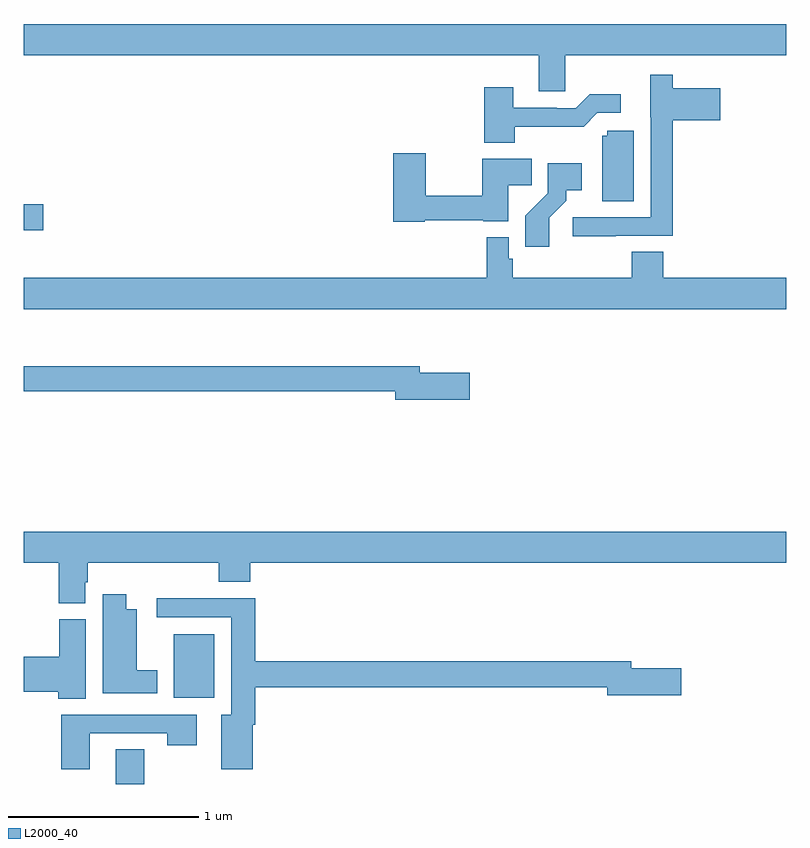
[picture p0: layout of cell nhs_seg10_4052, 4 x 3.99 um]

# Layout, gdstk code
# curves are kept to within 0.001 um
import gdstk
lib = gdstk.Library(unit=1e-6, precision=1e-09)
def R(c, l, rs):  # rectangles x0, y0, x1, y1
    for r in rs: c.add(gdstk.rectangle(r[:2], r[2:], *l))
def P(c, l, *ps):  # polygons
    for p in ps: c.add(gdstk.Polygon(p, *l))
L2000_40 = (2000, 40)

nhs_seg10_4052 = lib.new_cell('nhs_seg10_4052')
R(nhs_seg10_4052, L2000_40, [(335.483,1288.5,335.631,1288.682), (335.786,1288.952,335.998,1289.287), (335,1291.406,335.101,1291.541)])
P(nhs_seg10_4052, L2000_40, [(337.842,1292.324),(339,1292.324),(339,1292.488),(335,1292.488),(335,1292.324),(337.703,1292.324),(337.703,1292.134),(337.842,1292.134)],
  [(338.105,1291.377),(338.405,1291.377),(338.405,1291.982),(338.653,1291.982),(338.653,1292.152),(338.405,1292.152),(338.405,1292.221),(338.288,1292.221),(338.288,1291.998),(338.289,1291.998),(338.289,1291.473),(337.881,1291.473),(337.881,1291.375),(338.105,1291.375)],
  [(337.575,1291.95),(337.937,1291.949),(338.01,1292.022),(338.131,1292.022),(338.131,1292.119),(337.969,1292.119),(337.896,1292.046),(337.796,1292.046),(337.796,1292.049),(337.567,1292.049),(337.567,1292.155),(337.415,1292.155),(337.415,1291.865),(337.575,1291.865)],
  [(338.2,1291.929),(338.061,1291.929),(338.061,1291.902),(338.036,1291.902),(338.036,1291.558),(338.2,1291.558)],
  [(337.104,1291.458),(337.41,1291.458),(337.41,1291.454),(337.543,1291.454),(337.543,1291.642),(337.664,1291.642),(337.664,1291.78),(337.406,1291.78),(337.406,1291.586),(337.108,1291.586),(337.108,1291.81),(336.938,1291.81),(336.938,1291.45),(337.104,1291.45)],
  [(337.756,1291.471),(337.846,1291.561),(337.846,1291.616),(337.927,1291.616),(337.927,1291.756),(337.749,1291.756),(337.749,1291.601),(337.63,1291.482),(337.63,1291.32),(337.756,1291.32)],
  [(339,1291.156),(338.354,1291.156),(338.354,1291.292),(338.189,1291.292),(338.189,1291.156),(337.565,1291.156),(337.565,1291.257),(337.545,1291.257),(337.545,1291.369),(337.429,1291.369),(337.429,1291.156),(335,1291.156),(335,1290.992),(339,1290.992)],
  [(337.339,1290.657),(337.078,1290.657),(337.078,1290.691),(335,1290.691),(335,1290.562),(336.95,1290.562),(336.95,1290.515),(337.339,1290.515)],
  [(335.323,1289.559),(335.336,1289.559),(335.336,1289.66),(336.023,1289.66),(336.023,1289.561),(336.188,1289.561),(336.188,1289.66),(339,1289.66),(339,1289.824),(335,1289.824),(335,1289.66),(335.183,1289.66),(335.183,1289.449),(335.323,1289.449)],
  [(335.701,1289.098),(335.593,1289.098),(335.593,1289.416),(335.536,1289.416),(335.536,1289.497),(335.414,1289.497),(335.414,1288.976),(335.701,1288.976)],
  [(336.202,1288.811),(336.215,1288.811),(336.215,1289.008),(338.06,1289.008),(338.06,1288.966),(338.449,1288.966),(338.449,1289.108),(338.188,1289.108),(338.188,1289.144),(336.215,1289.144),(336.215,1289.474),(335.697,1289.474),(335.697,1289.376),(336.089,1289.376),(336.089,1288.864),(336.035,1288.864),(336.035,1288.578),(336.202,1288.578)],
  [(335.326,1289.364),(335.185,1289.364),(335.185,1289.168),(335,1289.168),(335,1288.985),(335.18,1288.985),(335.18,1288.948),(335.326,1288.948)],
  [(335.347,1288.767),(335.752,1288.767),(335.752,1288.704),(335.908,1288.704),(335.908,1288.863),(335.195,1288.863),(335.195,1288.578),(335.347,1288.578)])

lib.write_gds('nhs_seg10_4052.gds')
